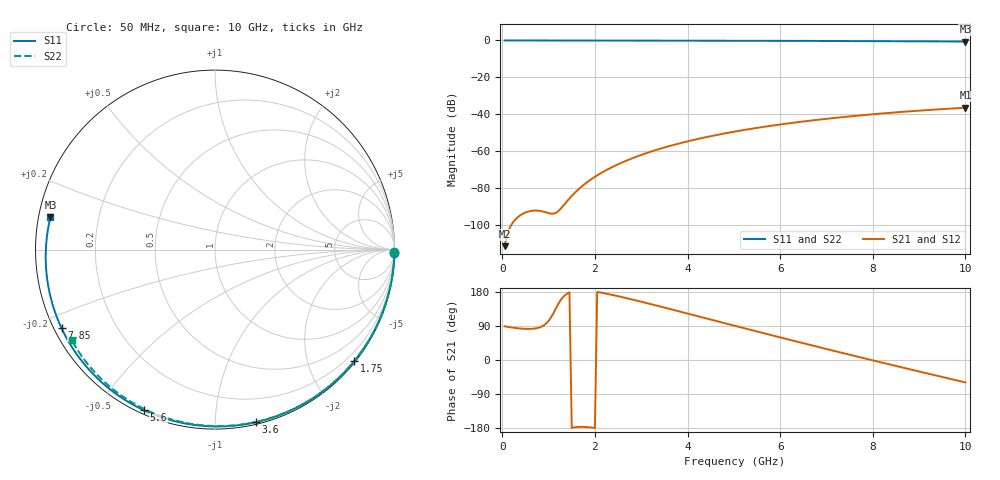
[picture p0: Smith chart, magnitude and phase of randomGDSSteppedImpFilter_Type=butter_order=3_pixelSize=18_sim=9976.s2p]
! freq	dB(S11)	phase(S11)	dB(S12)	phase(S12)
!  dB(S21)	phase(S21)	dB(S22)	phase(S22)
!S-par simulation data
#  GHz  S  DB  R 50
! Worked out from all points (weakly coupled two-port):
!   200 points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, 50 MHz to 10 GHz, reference 50 ohm
!   highest |S21| = -36.46 dB at 10 GHz (marker M1); lowest = -111.5 dB at 50 MHz (marker M2)
!   lowest |S11| = -0.6 dB at 10 GHz (marker M3), VSWR 29.45, Z = 1.71 + j4.87 ohm
!   |S11| at or under -10 dB: nowhere
!   |S22| runs from -0.5 to 0.0 dB; largest |S21 - S12| = 0
!   S11 on the Smith chart (normalised r, x): 50 MHz: open; 1.75 GHz: 0.03, -2.85; 3.6 GHz: 0.02, -1.27; 5.6 GHz: 0.02, -0.65; 7.85 GHz: 0.02, -0.24; 10 GHz: 0.03, +0.10
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0.05  -0.00 -1.1  -111.50 88.9  -111.50 88.9  -0.00 -0.9
0.4  -0.01 -9.0  -94.55 82.9  -94.55 82.9  -0.01 -6.9
0.8  -0.02 -17.9  -92.33 85.8  -92.33 85.8  -0.02 -13.7
1.2  -0.03 -26.7  -92.72 145.8  -92.72 145.8  -0.03 -20.4
1.65  -0.05 -36.5  -80.56 -176.4  -80.56 -176.4  -0.04 -27.9
1.7  -0.05 -37.5  -79.46 -176.3  -79.46 -176.3  -0.04 -28.8
1.75  -0.05 -38.6  -78.42 -176.4  -78.42 -176.4  -0.04 -29.6
2.05  -0.06 -45.0  -73.10 179.5  -73.10 179.5  -0.04 -34.5
2.45  -0.07 -53.4  -67.69 169.8  -67.69 169.8  -0.05 -41.1
2.9  -0.08 -62.6  -62.95 156.8  -62.95 156.8  -0.06 -48.3
3.4  -0.10 -72.7  -58.75 141.5  -58.75 141.5  -0.07 -56.2
3.6  -0.10 -76.6  -57.30 135.2  -57.30 135.2  -0.08 -59.3
4.3  -0.13 -90.0  -52.96 113.1  -52.96 113.1  -0.10 -70.0
5.05  -0.16 -103.9  -49.25 89.4  -49.25 89.4  -0.12 -81.1
5.6  -0.19 -113.8  -46.99 72.1  -46.99 72.1  -0.15 -89.0
6.15  -0.22 -123.5  -45.03 55.0  -45.03 55.0  -0.17 -96.7
6.7  -0.26 -133.0  -43.31 38.1  -43.31 38.1  -0.20 -104.2
7.3  -0.30 -143.4  -41.67 19.9  -41.67 19.9  -0.24 -112.3
7.85  -0.35 -152.8  -40.34 3.5  -40.34 3.5  -0.28 -119.6
8.35  -0.40 -161.5  -39.27 -11.3  -39.27 -11.3  -0.32 -126.2
9.2  -0.49 -176.5  -37.69 -36.1  -37.69 -36.1  -0.40 -137.3
10  -0.59 168.9  -36.46 -59.2  -36.46 -59.2  -0.50 -147.7
